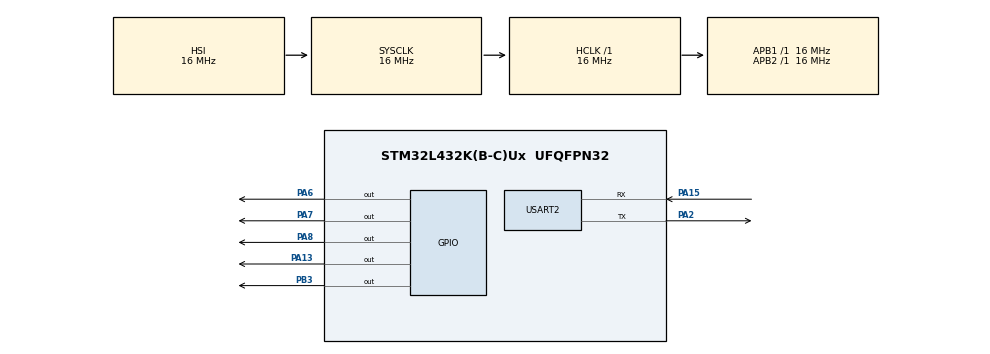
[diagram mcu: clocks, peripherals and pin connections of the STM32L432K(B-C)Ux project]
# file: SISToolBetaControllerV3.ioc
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Dma.Request0=USART2_RX
Dma.Request1=USART2_TX
Dma.USART2_RX.0.Direction=DMA_PERIPH_TO_MEMORY
Dma.USART2_RX.0.Instance=DMA1_Channel6
Dma.USART2_RX.0.MemDataAlignment=DMA_MDATAALIGN_BYTE
Dma.USART2_RX.0.MemInc=DMA_MINC_ENABLE
Dma.USART2_RX.0.Mode=DMA_CIRCULAR
Dma.USART2_RX.0.PeriphDataAlignment=DMA_PDATAALIGN_BYTE
Dma.USART2_RX.0.PeriphInc=DMA_PINC_DISABLE
Dma.USART2_RX.0.Priority=DMA_PRIORITY_LOW
Dma.USART2_TX.1.Direction=DMA_MEMORY_TO_PERIPH
Dma.USART2_TX.1.Instance=DMA1_Channel7
Dma.USART2_TX.1.MemDataAlignment=DMA_MDATAALIGN_BYTE
Dma.USART2_TX.1.MemInc=DMA_MINC_ENABLE
Dma.USART2_TX.1.Mode=DMA_NORMAL
Dma.USART2_TX.1.PeriphDataAlignment=DMA_PDATAALIGN_BYTE
Dma.USART2_TX.1.PeriphInc=DMA_PINC_DISABLE
Dma.USART2_TX.1.Priority=DMA_PRIORITY_LOW
Mcu.Family=STM32L4
Mcu.Name=STM32L432K(B-C)Ux
Mcu.Package=UFQFPN32
NVIC.DMA1_Channel6_IRQn=true\:0\:0\:false\:false\:true\:false\:true\:true
NVIC.DMA1_Channel7_IRQn=true\:0\:0\:false\:false\:true\:false\:true\:true
NVIC.PriorityGroup=NVIC_PRIORITYGROUP_4
NVIC.USART2_IRQn=true\:0\:0\:false\:false\:true\:true\:true\:true
PA0.Mode=HSE-External-Clock-Source-for-LittleOrca
PA0.Signal=RCC_CK_IN
PA13\ (JTMS-SWDIO).Signal=GPIO_Output
PA15\ (JTDI).Mode=Asynchronous
PA15\ (JTDI).Signal=USART2_RX
PA2.Mode=Asynchronous
PA2.Signal=USART2_TX
PA6.Signal=GPIO_Output
PA7.Signal=GPIO_Output
PA8.Signal=GPIO_Output
PB3\ (JTDO-TRACESWO).Signal=GPIO_Output
PC14-OSC32_IN\ (PC14).Mode=LSE-External-Oscillator
PC14-OSC32_IN\ (PC14).Signal=RCC_OSC32_IN
PC15-OSC32_OUT\ (PC15).Mode=LSE-External-Oscillator
PC15-OSC32_OUT\ (PC15).Signal=RCC_OSC32_OUT
ProjectManager.HeapSize=0x200
ProjectManager.StackSize=0x400
ProjectManager.TargetToolchain=CMake
RCC.ADCFreq_Value=16000000
RCC.AHBFreq_Value=16000000
RCC.APB1Freq_Value=16000000
RCC.APB1TimFreq_Value=16000000
RCC.APB2Freq_Value=16000000
RCC.APB2TimFreq_Value=16000000
RCC.CortexFreq_Value=16000000
RCC.HCLKFreq_Value=16000000
RCC.HSE_VALUE=8000000
RCC.HSI48_VALUE=48000000
RCC.HSI_VALUE=16000000
RCC.MSI_VALUE=4000000
RCC.SYSCLKFreq_VALUE=16000000
RCC.SYSCLKSource=RCC_SYSCLKSOURCE_HSI
RCC.USBFreq_Value=16000000
RCC.VCOOutputFreq_Value=32000000
USART2.VirtualMode-Asynchronous=VM_ASYNC
VP_TIM2_VS_ClockSourceINT.Mode=Internal
board=custom

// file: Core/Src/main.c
/* USER CODE BEGIN Header */
/**
  ******************************************************************************
  * @file           : main.c
  * @brief          : Main program body
  ******************************************************************************
  * @attention
  *
  * Copyright (c) 2025 STMicroelectronics.
  * All rights reserved.
  *
  * This software is licensed under terms that can be found in the LICENSE file
  * in the root directory of this software component.
  * If no LICENSE file comes with this software, it is provided AS-IS.
  *
  ******************************************************************************
  */
/* USER CODE END Header */
#include "main.h"

/* USER CODE BEGIN Includes */
#include <string.h>
#include <stdlib.h>
#include <time.h>
#include <stdio.h>

#define SYSTICK_LOAD (SystemCoreClock/1000000U)

extern __IO uint32_t uwTick;
/* USER CODE END Includes */

TIM_HandleTypeDef htim2;

UART_HandleTypeDef huart2;
DMA_HandleTypeDef hdma_usart2_rx;
DMA_HandleTypeDef hdma_usart2_tx;

/* USER CODE BEGIN PV */
uint8_t RxData[64];
char txdata[35] = "stanley what the hell is going on\r\n";
char txdata1[35] = "i can use a pussy sandwich\r\n";
char txdata2[35] = "smoke weed everyday\r\n";
char txcomplete[31] = "tx is done sending what's next\r\n";
volatile uint8_t ActiveCommand = 0;

unsigned long blinkInterval;
uint8_t *inputData;

/* USER CODE END PV */

void SystemClock_Config(void);
static void MX_GPIO_Init(void);
static void MX_DMA_Init(void);
static void MX_USART2_UART_Init(void);
static void MX_TIM2_Init(void);
/* USER CODE BEGIN PFP */

typedef struct MOTOR {
  int MotorNumber;
  int Angle;
  int Speed;
  int TargetAngle;
  uint16_t DataPin;
  uint32_t cycleStart;
  uint32_t lastUpdate;

  //uint32_t channel;
};

struct MOTOR motor1;
struct MOTOR motor2;
struct MOTOR motor3;

void motorInitializer(){
  motor1.MotorNumber = 1;
  motor1.Angle = 140;
  motor1.Speed = 5;
  motor1.DataPin = GPIO_PIN_6;
  motor1.cycleStart = 10;
  motor1.TargetAngle = 160;
  motor1.lastUpdate = 0;

  motor2.MotorNumber = 2;
  motor2.Angle = 180;
  motor2.Speed = 5;
  motor2.DataPin = GPIO_PIN_7;
  motor2.cycleStart = 10;
  motor2.TargetAngle = 70;
  motor2.lastUpdate = 0;

  // thissun for the pincer
  motor3.MotorNumber = 3;
  motor3.Angle = 50;
  motor3.Speed = 5;
  motor3.DataPin = GPIO_PIN_8;
  motor3.cycleStart = 10;
  motor3.TargetAngle = 50;
  motor3.lastUpdate = 0;
}

void inputHandler(){
  if(ActiveCommand){
    ActiveCommand = 0;
    if(RxData[0] == 'M'){
      char successMsg[] = "First character is 'M'! Hello there!\r\n";
      //HAL_UART_Transmit_DMA(&huart2, (uint8_t*)successMsg, strlen(successMsg));
      //uint32_t TARGET = 0;

      char Speed[16] = {0};
      char Angle[16] = {0};

      strncpy(Angle, RxData + 2, 3);
      strncpy(Speed, RxData + 4, 3);

      int ANGLE = atoi(Angle);
      int SPEED = atoi(Speed);

      if(RxData[1] == '1'){
        motor1.TargetAngle = ANGLE;
        motor1.Speed = SPEED;
        char M1Detection[23] = "M1 was found, Heyyyy!\r\n";
        //HAL_UART_Transmit_DMA(&huart2, (uint8_t*)M1Detection, strlen(M1Detection));
        //int cycles = ANGLE;

        // for(int i = 0; i < cycles; i++){
        //   HAL_GPIO_WritePin(GPIOB, GPIO_PIN_3, GPIO_PIN_SET);
        //   HAL_Delay(50);
        //   HAL_GPIO_WritePin(GPIOB, GPIO_PIN_3, GPIO_PIN_RESET);
        //   HAL_Delay(50);
        // }

      }
      if(RxData[1] == '2'){
        motor2.TargetAngle = ANGLE;
        motor2.Speed = SPEED;
        char M2Detection[23] = "M2 was found, Heyyyy!\r\n";
        //HAL_UART_Transmit_DMA(&huart2, (uint8_t*)M2Detection, strlen(M2Detection));
        //int cycles = ANGLE;

        // for(int i = 0; i < cycles; i++){
        //   HAL_GPIO_WritePin(GPIOB, GPIO_PIN_3, GPIO_PIN_SET);
        //   HAL_Delay(10);
        //   HAL_GPIO_WritePin(GPIOB, GPIO_PIN_3, GPIO_PIN_RESET);
        //   HAL_Delay(10);
        // }
      }
      if(RxData[1] == '3'){
        motor3.TargetAngle = ANGLE;
        motor3.Speed = SPEED;
        char M3Detection[23] = "M3 was found, Heyyyy!\r\n";
        //HAL_UART_Transmit_DMA(&huart2, (uint8_t*)M3Detection, strlen(M3Detection));
        //int cycles = ANGLE;

        // for(int i = 0; i < cycles; i++){
        //   HAL_GPIO_WritePin(GPIOB, GPIO_PIN_3, GPIO_PIN_SET);
        //   HAL_Delay(20);
        //   HAL_GPIO_WritePin(GPIOB, GPIO_PIN_3, GPIO_PIN_RESET);
        //   HAL_Delay(20);
        // }

      }
      RxData[64] = "";
    }
  }
}

uint32_t micros(){
  const uint32_t reloadValue = SysTick->LOAD;

  // The millisecond counter provided by the HAL library.
  uint32_t msTicks;

  // The current value of the SysTick down-counter.
  uint32_t currentTickValue;

  do {
      msTicks = uwTick;
      currentTickValue = SysTick->VAL;
  } while (msTicks != uwTick);

  return (msTicks * 1000) + ((reloadValue - currentTickValue) / (SystemCoreClock / 1000000));

}

//might obsolete this section
void motorDriver(struct MOTOR *motor){
  uint32_t currentTime = micros();
  // adjust pulse rate of each motor
  // lets say hypothetically you get a micros function working
  // call this when you get
  int ANGLE = motor->Angle;
  int TARGETAngle = motor->TargetAngle;
  //int SPEED = 100;
  uint32_t lastUpdate = motor->lastUpdate;

  // implement a speed setting

  uint16_t DATAPIN = motor->DataPin;
  // speed settings pause for now

  if((currentTime - lastUpdate) > 20000){
      if(ANGLE>TARGETAngle){
        ANGLE -= 5;
        motor->Angle = ANGLE;
      }
      if(ANGLE<TARGETAngle){
        ANGLE += 5;
        motor->Angle = ANGLE;
      }

    motor->lastUpdate = currentTime;

  }

  float additionalPULSE = (double)ANGLE*(7.1);
  //char printableANGLE[8];
  //itoa(ANGLE, printableANGLE, 8);
  uint32_t PulseInterval = 450+(uint32_t)additionalPULSE;
  uint32_t CycleInterval = 20000; //time for 50 hz

  if ((currentTime - motor->cycleStart)>CycleInterval){
    HAL_GPIO_WritePin(GPIOA, DATAPIN, GPIO_PIN_SET);
    motor->cycleStart = currentTime;
  }
  if ((currentTime - motor->cycleStart)>PulseInterval){
    HAL_GPIO_WritePin(GPIOA, DATAPIN, GPIO_PIN_RESET);
  }

}

/* USER CODE END PFP */

int main(void)
{

  /* MCU Configuration--------------------------------------------------------*/

  /* Reset of all peripherals, Initializes the Flash interface and the Systick. */
  HAL_Init();

  /* Configure the system clock */
  SystemClock_Config();

  /* Initialize all configured peripherals */
  MX_GPIO_Init();
  MX_DMA_Init();
  MX_USART2_UART_Init();
  MX_TIM2_Init();
  /* USER CODE BEGIN 2 */
  //HAL_UART_Receive_IT(&huart2, RxData, 32);
  //HAL_TIM_PWM_Start(&htim2, TIM_CHANNEL_1);
  //HAL_TIM_PWM_Start(&htim2, TIM_CHANNEL_2);
  //HAL_TIM_PWM_Start(&htim2, TIM_CHANNEL_4);

  //HAL_UART_Receive_DMA(&huart2, RxData, 32);

  HAL_UARTEx_ReceiveToIdle_DMA(&huart2, RxData, 64);
  motorInitializer();

  /* USER CODE END 2 */

  /* Infinite loop */
  /* USER CODE BEGIN WHILE */

  while (1)
  {
    // look for data processing flag
    inputHandler();

    motorDriver(&motor1);
    motorDriver(&motor2);
    motorDriver(&motor3);

    //char tx_buffer[50];

    /* USER CODE END WHILE */

  }
}

void SystemClock_Config(void)
{
  RCC_OscInitTypeDef RCC_OscInitStruct = {0};
  RCC_ClkInitTypeDef RCC_ClkInitStruct = {0};

  /** Configure the main internal regulator output voltage
  */
  if (HAL_PWREx_ControlVoltageScaling(PWR_REGULATOR_VOLTAGE_SCALE1) != HAL_OK)
  {
    Error_Handler();
  }

  /** Initializes the RCC Oscillators according to the specified parameters
  * in the RCC_OscInitTypeDef structure.
  */
  RCC_OscInitStruct.OscillatorType = RCC_OSCILLATORTYPE_HSI;
  RCC_OscInitStruct.HSIState = RCC_HSI_ON;
  RCC_OscInitStruct.HSICalibrationValue = RCC_HSICALIBRATION_DEFAULT;
  RCC_OscInitStruct.PLL.PLLState = RCC_PLL_NONE;
  if (HAL_RCC_OscConfig(&RCC_OscInitStruct) != HAL_OK)
  {
    Error_Handler();
  }

  /** Initializes the CPU, AHB and APB buses clocks
  */
  RCC_ClkInitStruct.ClockType = RCC_CLOCKTYPE_HCLK|RCC_CLOCKTYPE_SYSCLK
                              |RCC_CLOCKTYPE_PCLK1|RCC_CLOCKTYPE_PCLK2;
  RCC_ClkInitStruct.SYSCLKSource = RCC_SYSCLKSOURCE_HSI;
  RCC_ClkInitStruct.AHBCLKDivider = RCC_SYSCLK_DIV1;
  RCC_ClkInitStruct.APB1CLKDivider = RCC_HCLK_DIV1;
  RCC_ClkInitStruct.APB2CLKDivider = RCC_HCLK_DIV1;

  if (HAL_RCC_ClockConfig(&RCC_ClkInitStruct, FLASH_LATENCY_0) != HAL_OK)
  {
    Error_Handler();
  }
}

static void MX_TIM2_Init(void)
{

  TIM_ClockConfigTypeDef sClockSourceConfig = {0};
  TIM_MasterConfigTypeDef sMasterConfig = {0};

  htim2.Instance = TIM2;
  htim2.Init.Prescaler = 0;
  htim2.Init.CounterMode = TIM_COUNTERMODE_UP;
  htim2.Init.Period = 4294967295;
  htim2.Init.ClockDivision = TIM_CLOCKDIVISION_DIV1;
  htim2.Init.AutoReloadPreload = TIM_AUTORELOAD_PRELOAD_DISABLE;
  if (HAL_TIM_Base_Init(&htim2) != HAL_OK)
  {
    Error_Handler();
  }
  sClockSourceConfig.ClockSource = TIM_CLOCKSOURCE_INTERNAL;
  if (HAL_TIM_ConfigClockSource(&htim2, &sClockSourceConfig) != HAL_OK)
  {
    Error_Handler();
  }
  sMasterConfig.MasterOutputTrigger = TIM_TRGO_RESET;
  sMasterConfig.MasterSlaveMode = TIM_MASTERSLAVEMODE_DISABLE;
  if (HAL_TIMEx_MasterConfigSynchronization(&htim2, &sMasterConfig) != HAL_OK)
  {
    Error_Handler();
  }

}

static void MX_USART2_UART_Init(void)
{

  huart2.Instance = USART2;
  huart2.Init.BaudRate = 115200;
  huart2.Init.WordLength = UART_WORDLENGTH_8B;
  huart2.Init.StopBits = UART_STOPBITS_1;
  huart2.Init.Parity = UART_PARITY_NONE;
  huart2.Init.Mode = UART_MODE_TX_RX;
  huart2.Init.HwFlowCtl = UART_HWCONTROL_NONE;
  huart2.Init.OverSampling = UART_OVERSAMPLING_16;
  huart2.Init.OneBitSampling = UART_ONE_BIT_SAMPLE_DISABLE;
  huart2.AdvancedInit.AdvFeatureInit = UART_ADVFEATURE_NO_INIT;
  if (HAL_UART_Init(&huart2) != HAL_OK)
  {
    Error_Handler();
  }

}

static void MX_DMA_Init(void)
{

  /* DMA controller clock enable */
  __HAL_RCC_DMA1_CLK_ENABLE();

  /* DMA interrupt init */
  /* DMA1_Channel6_IRQn interrupt configuration */
  HAL_NVIC_SetPriority(DMA1_Channel6_IRQn, 0, 0);
  HAL_NVIC_EnableIRQ(DMA1_Channel6_IRQn);
  /* DMA1_Channel7_IRQn interrupt configuration */
  HAL_NVIC_SetPriority(DMA1_Channel7_IRQn, 0, 0);
  HAL_NVIC_EnableIRQ(DMA1_Channel7_IRQn);

}

static void MX_GPIO_Init(void)
{
  GPIO_InitTypeDef GPIO_InitStruct = {0};

  /* GPIO Ports Clock Enable */
  __HAL_RCC_GPIOC_CLK_ENABLE();
  __HAL_RCC_GPIOA_CLK_ENABLE();
  __HAL_RCC_GPIOB_CLK_ENABLE();

  /*Configure GPIO pin Output Level */
  HAL_GPIO_WritePin(GPIOA, GPIO_PIN_6|GPIO_PIN_7|GPIO_PIN_8|GPIO_PIN_13, GPIO_PIN_RESET);

  /*Configure GPIO pin Output Level */
  HAL_GPIO_WritePin(GPIOB, GPIO_PIN_3, GPIO_PIN_RESET);

  /*Configure GPIO pins : PA6 PA7 PA8 PA13 */
  GPIO_InitStruct.Pin = GPIO_PIN_6|GPIO_PIN_7|GPIO_PIN_8|GPIO_PIN_13;
  GPIO_InitStruct.Mode = GPIO_MODE_OUTPUT_PP;
  GPIO_InitStruct.Pull = GPIO_NOPULL;
  GPIO_InitStruct.Speed = GPIO_SPEED_FREQ_LOW;
  HAL_GPIO_Init(GPIOA, &GPIO_InitStruct);

  /*Configure GPIO pin : PB3 */
  GPIO_InitStruct.Pin = GPIO_PIN_3;
  GPIO_InitStruct.Mode = GPIO_MODE_OUTPUT_PP;
  GPIO_InitStruct.Pull = GPIO_NOPULL;
  GPIO_InitStruct.Speed = GPIO_SPEED_FREQ_LOW;
  HAL_GPIO_Init(GPIOB, &GPIO_InitStruct);

}

/* USER CODE BEGIN 4 */

void HAL_UARTEx_RxEventCallback(UART_HandleTypeDef *huart, uint16_t size)
{

  if (huart->Instance == USART2) {

    HAL_UART_AbortReceive(huart);
    RxData[size] = '\0';
    // arm flag
    ActiveCommand = 1;
    }

    HAL_UARTEx_ReceiveToIdle_DMA(&huart2, RxData, 64);
    }

/* USER CODE END 4 */

void Error_Handler(void)
{
  __disable_irq();
  while (1)
  {
  }
}
